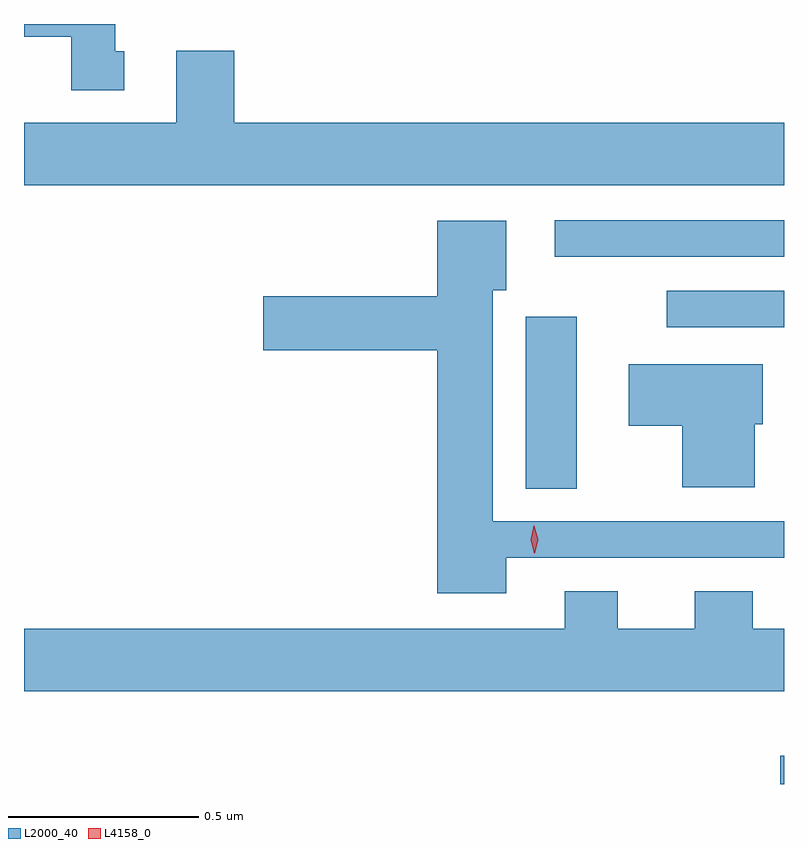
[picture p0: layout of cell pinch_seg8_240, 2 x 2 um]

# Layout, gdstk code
import gdstk
lib = gdstk.Library(unit=1e-6, precision=1e-09)
def R(c, l, rs):  # rectangles x0, y0, x1, y1
    for r in rs: c.add(gdstk.rectangle(r[:2], r[2:], *l))
def P(c, l, *ps):  # polygons
    for p in ps: c.add(gdstk.Polygon(p, *l))
L2000_40 = (2000, 40)
L4158_0 = (4158, 0)

pinch_seg8_240 = lib.new_cell('pinch_seg8_240')
R(pinch_seg8_240, L2000_40, [(678.185,1092.28,678.195,1092.355), (677.516,1093.057,677.65,1093.51), (677.886,1093.482,678.195,1093.578), (677.592,1093.668,678.195,1093.764)])
P(pinch_seg8_240, L2000_40, [(676.459,1094.208),(676.435,1094.208),(676.435,1094.28),(676.195,1094.28),(676.195,1094.246),(676.319,1094.246),(676.319,1094.106),(676.459,1094.106)],
  [(678.195,1094.02),(676.748,1094.02),(676.748,1094.209),(676.595,1094.209),(676.595,1094.02),(676.195,1094.02),(676.195,1093.856),(678.195,1093.856)],
  [(677.464,1092.876),(678.195,1092.876),(678.195,1092.972),(677.428,1092.972),(677.428,1093.58),(677.464,1093.58),(677.464,1093.762),(677.282,1093.762),(677.282,1093.563),(676.824,1093.563),(676.824,1093.421),(677.282,1093.421),(677.282,1092.782),(677.464,1092.782)],
  [(678.118,1093.227),(678.139,1093.227),(678.139,1093.384),(677.787,1093.384),(677.787,1093.223),(677.927,1093.223),(677.927,1093.061),(678.118,1093.061)],
  [(678.195,1092.688),(678.113,1092.688),(678.113,1092.787),(677.96,1092.787),(677.96,1092.688),(677.758,1092.688),(677.758,1092.787),(677.618,1092.787),(677.618,1092.688),(676.195,1092.688),(676.195,1092.524),(678.195,1092.524)])
P(pinch_seg8_240, L4158_0, [(677.538,1092.887),(677.528,1092.923),(677.537,1092.959),(677.537,1092.959),(677.538,1092.959),(677.548,1092.923),(677.539,1092.887),(677.539,1092.887)])

lib.write_gds('pinch_seg8_240.gds')
